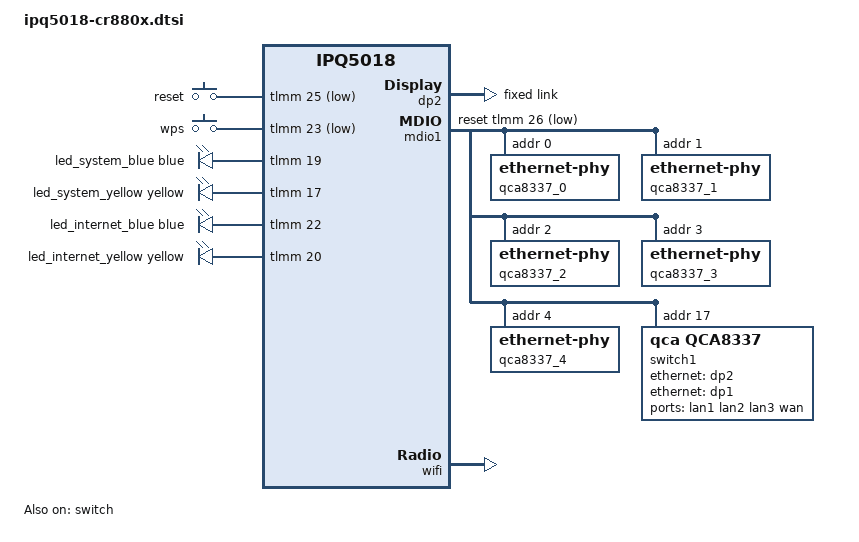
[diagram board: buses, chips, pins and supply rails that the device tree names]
// SPDX-License-Identifier: GPL-2.0-or-later OR MIT

#include "ipq5018-cr880x-common.dtsi"

/ {
	keys {
		compatible = "gpio-keys";
		pinctrl-0 = <&button_pins>;
		pinctrl-names = "default";

		reset-button {
			label = "reset";
			gpios = <&tlmm 25 GPIO_ACTIVE_LOW>;
			linux,code = <KEY_RESTART>;
		};

		wps-button {
			label = "wps";
			gpios = <&tlmm 23 GPIO_ACTIVE_LOW>;
			linux,code = <KEY_WPS_BUTTON>;
		};
	};

	leds {
		compatible = "gpio-leds";
		pinctrl-0 = <&led_pins>;
		pinctrl-names = "default";

		led_system_blue: led-0 {
			gpios = <&tlmm 19 GPIO_ACTIVE_HIGH>;
			color = <LED_COLOR_ID_BLUE>;
			function = LED_FUNCTION_STATUS;
			default-state = "on";
		};

		led_system_yellow: led-1 {
			gpios = <&tlmm 17 GPIO_ACTIVE_HIGH>;
			color = <LED_COLOR_ID_YELLOW>;
			function = LED_FUNCTION_STATUS;
		};

		led_internet_blue: led-2 {
			gpios = <&tlmm 22 GPIO_ACTIVE_HIGH>;
			color = <LED_COLOR_ID_BLUE>;
			function = LED_FUNCTION_WAN;
		};

		led_internet_yellow: led-3 {
			gpios = <&tlmm 20 GPIO_ACTIVE_HIGH>;
			color = <LED_COLOR_ID_YELLOW>;
			function = LED_FUNCTION_WAN;
		};
	};
};

&switch {
	status = "okay";

	switch_mac_mode = <MAC_MODE_SGMII_CHANNEL0>;

	qcom,port_phyinfo {
		// MAC0 -> GE Phy --- MDI --- QCA8337 Phy4(Port5)
		port@0 {
			port_id = <1>;
			mdiobus = <&mdio0>;
			phy_address = <7>;
		};

		// MAC1 -> Uniphy --- SGMII --- QCA8337 SerDes(Port6)
		port@1 {
			port_id = <2>;
			mdiobus = <&mdio1>;
			forced-speed = <1000>;
			forced-duplex = <1>;
		};
	};
};

// MAC1 -> SGMII
&dp2 {
	status = "okay";
	nvmem-cells = <&mac_addr_dp 1>;
	nvmem-cell-names = "mac-address";

	fixed-link {
		speed = <1000>;
		full-duplex;
	};
};

&mdio1 {
	status = "okay";

	pinctrl-0 = <&mdio1_pins>;
	pinctrl-names = "default";
	reset-gpios = <&tlmm 26 GPIO_ACTIVE_LOW>;

	// QCA8337 Phy0 -> LAN1
	qca8337_0: ethernet-phy@0 {
		reg = <0>;
	};

	// QCA8337 Phy1 -> LAN2
	qca8337_1: ethernet-phy@1 {
		reg = <1>;
	};

	// QCA8337 Phy2 -> LAN3
	qca8337_2: ethernet-phy@2 {
		reg = <2>;
	};

	// QCA8337 Phy3 -> WAN
	qca8337_3: ethernet-phy@3 {
		reg = <3>;
	};

	// QCA8337 Phy4 -> IPQ5018 GE Phy
	qca8337_4: ethernet-phy@4 {
		reg = <4>;
	};

	// QCA8337 switch
	switch1: ethernet-switch@17 {
		compatible = "qca,qca8337";
		reg = <17>;
		#address-cells = <1>;
		#size-cells = <0>;

		ports {
			#address-cells = <1>;
			#size-cells = <0>;

			// CPU port -> MAC1 via SGMII
			port@0 {
				reg = <0>;
				phy-mode = "sgmii";
				ethernet = <&dp2>;
				qca,sgmii-enable-pll;

				fixed-link {
					speed = <1000>;
					full-duplex;
				};
			};

			port@1 {
				reg = <1>;
				label = "lan1";
				phy-handle = <&qca8337_0>;
			};

			port@2 {
				reg = <2>;
				label = "lan2";
				phy-handle = <&qca8337_1>;
			};

			port@3 {
				reg = <3>;
				label = "lan3";
				phy-handle = <&qca8337_2>;
			};

			port@4 {
				reg = <4>;
				label = "wan";
				phy-handle = <&qca8337_3>;
			};

			// Phy4 -> IPQ5018 GE Phy (CPU port via internal GMII)
			port@5 {
				reg = <5>;
				phy-handle = <&qca8337_4>;
				phy-mode = "gmii";
				ethernet = <&dp1>;
			};
		};
	};
};

&q6v5_wcss {
	boot-args = </*       type:\t*/ 0x2 /* PCIE1\t*/
		     /*     length:\t*/ 4
		     /*     UPD ID:\t*/ 2
		     /* reset GPIO:\t*/ 27
		     /*   reserved:\t*/ 0 0>;
};

&wifi {
	qcom,ath11k-calibration-variant = "Xiaomi-CR880X";
};

&tlmm {
	button_pins: button-state {
		button-pins {
			pins = "gpio23", "gpio25";
			function = "gpio";
			drive-strength = <8>;
			bias-pull-up;
		};
	};

	led_pins: led-state {
		pins = "gpio17", "gpio19", "gpio20", "gpio22";
		function = "gpio";
		drive-strength = <8>;
		bias-pull-down;
	};

	serial_0_pins: uart0-state {
		pins = "gpio28", "gpio29";
		function = "blsp0_uart1";
		drive-strength = <8>;
		bias-disable;
	};
};
